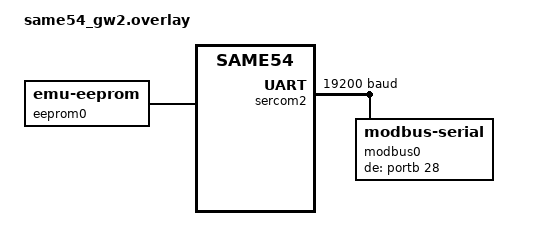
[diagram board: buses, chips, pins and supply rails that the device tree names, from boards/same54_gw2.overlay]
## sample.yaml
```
sample:
  name: Modbus TCP to serial line gateway sample
tests:
  sample.modbus.tcp_gateway:
    build_only: true
    platform_allow: frdm_k64f, same54_gw2
    tags: modbus
    depends_on:
      - gpio
      - netif
      - arduino_serial
    integration_platforms:
      - frdm_k64f
```

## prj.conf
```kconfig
CONFIG_DEBUG=y

CONFIG_LOG=y
CONFIG_MAIN_STACK_SIZE=1200
CONFIG_POSIX_API=y

CONFIG_SERIAL=y
CONFIG_UART_INTERRUPT_DRIVEN=y
CONFIG_UART_LINE_CTRL=n

CONFIG_MODBUS=y
CONFIG_MODBUS_ROLE_CLIENT=y
CONFIG_MODBUS_RAW_ADU=y
CONFIG_MODBUS_NUMOF_RAW_ADU=1
CONFIG_MODBUS_LOG_LEVEL_DBG=y

# Networking config
CONFIG_NETWORKING=y
CONFIG_NET_IPV4=y
CONFIG_NET_IPV6=n
CONFIG_NET_TCP=y
CONFIG_NET_ARP=y
CONFIG_NET_SOCKETS=y

# Network address config
CONFIG_NET_CONFIG_SETTINGS=n
CONFIG_NET_DHCPV4=y
CONFIG_NET_CONNECTION_MANAGER=y
CONFIG_NET_MGMT_EVENT=y
CONFIG_NET_L2_ETHERNET_MGMT=y

CONFIG_NET_SHELL=y
CONFIG_KERNEL_SHELL=y
CONFIG_SHELL_LOG_BACKEND=y
CONFIG_SHELL_BACKEND_TELNET=y
CONFIG_SHELL_TELNET_SUPPORT_COMMAND=y

CONFIG_EEPROM=y
CONFIG_EEPROM_EMULATOR=y
CONFIG_EEPROM_SHELL=y
# CONFIG_EEPROM_LOG_LEVEL_DBG=y
```

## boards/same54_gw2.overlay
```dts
/*
 * Copyright (c) 2020 Phytec Messtechnik GmbH
 *
 * SPDX-License-Identifier: Apache-2.0
 */


&sercom2 {
	status = "okay";
	compatible = "atmel,sam0-uart";
	current-speed = <19200>;
	rxpo = <1>;
	txpo = <0>;

	pinctrl-0 = <&sercom2_uart_default>;
	pinctrl-names = "default";

	modbus0 {
		compatible = "zephyr,modbus-serial";
		status = "okay";
		de-gpios = <&portb 28 GPIO_ACTIVE_HIGH>;
	};
};


&sram0 {
	reg = <0x20000000 0x30000>;
};


&flash0 {
	partitions {
		compatible = "fixed-partitions";
		#address-cells = <1>;
		#size-cells = <1>;

		/*
		 * Forth partition last 128 kB - storage_partition
		 */
		forth_partition: partition@e0000 {
			label = "forth-dict";
			reg = <0x00e0000 0x0001c000>;
		};

		 /*
		 * The final 16 KiB is reserved for the application.
		 * Storage partition will be used by FCB/LittleFS/NVS
		 * if enabled.
		 */
		chip_partition: partition@fc000 {
			label = "eeprom";
			reg = <0x000fc000 0x00004000>;
		};
	};
};

/ {
	aliases {
		mac-eeprom = &eeprom0;
	};

	eeprom0: eeprom-0 {
		compatible = "zephyr,emu-eeprom";
		status = "okay";
		partition = < &chip_partition >;
		size = <64>;
		pagesize = <(16*512)>;
	};
};
```

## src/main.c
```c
/*
 * Copyright (c) 2020 PHYTEC Messtechnik GmbH
 * Copyright (c) 2021 Nordic Semiconductor ASA
 *
 * SPDX-License-Identifier: Apache-2.0
 */

#include <zephyr/kernel.h>
#include <zephyr/sys/util.h>
#include <zephyr/drivers/eeprom.h>
#include <zephyr/device.h>
#include <zephyr/random/random.h>
#include <zephyr/modbus/modbus.h>
#include <zephyr/net/socket.h>

#include <zephyr/net/ethernet.h>
#include <zephyr/net/ethernet_mgmt.h>
#include <zephyr/net/net_core.h>
#include <zephyr/net/net_if.h>
#include <zephyr/net/net_context.h>
#include <zephyr/net/net_mgmt.h>

#include <zephyr/logging/log.h>
LOG_MODULE_REGISTER(tcp_gateway, LOG_LEVEL_INF);

#define MODBUS_TCP_PORT 502
static struct net_mgmt_event_callback mgmt_cb;

#define EEPROM_MAC_OFFSET 0
/*
 * Get a device structure from a devicetree node with alias eeprom-0
 */
static const struct device *get_eeprom_device(void)
{
	const struct device *const dev = DEVICE_DT_GET(DT_ALIAS(mac_eeprom));

	if (!device_is_ready(dev)) {
		printk("\nError: Device \"%s\" is not ready; "
		       "check the driver initialization logs for errors.\n",
		       dev->name);
		return NULL;
	}

	printk("Found EEPROM device \"%s\"\n", dev->name);
	return dev;
}

static int check_generate_mac(struct net_eth_addr *mac)
{
	uint8_t *p = (uint8_t*)mac;

	for(int n=0;n < sizeof(struct net_eth_addr);n++) {
		if(p[n] != 0xff) return 0;
	}

	p[0] = 0x02;
	p[1] = 0x19;
	p[2] = 0x96;

	sys_rand_get(p+3,sizeof(struct net_eth_addr)-3);

	return 1;
}

static void set_mac_addr(struct net_if *iface, void *user_data)
{
	ARG_UNUSED(user_data);
	int rc;
	struct ethernet_req_params values;

	const struct device *eeprom = get_eeprom_device();

	rc = net_if_down(iface);
	if (rc < 0) {
		printk("Error: Couldn't bring network down %d.\n", rc);
		return;
	}

	if (eeprom == NULL) {
		return;
	}

	rc = eeprom_read(eeprom, EEPROM_MAC_OFFSET, &values.mac_address, sizeof(values.mac_address));
	if (rc < 0) {
		printk("Error: Couldn't read eeprom: err: %d.\n", rc);
		return;
	}

	if (check_generate_mac(&values.mac_address))
	{
		rc = eeprom_write(eeprom, EEPROM_MAC_OFFSET, &values.mac_address, sizeof(values.mac_address));
		if (rc < 0) {
			printk("Error: Couldn't write eeprom: err: %d.\n", rc);
		}
	}

	rc = net_mgmt(NET_REQUEST_ETHERNET_SET_MAC_ADDRESS, iface,
		       &values, sizeof(struct ethernet_req_params));

	LOG_INF("Set MAC on %s: index=%d", net_if_get_device(iface)->name,
		net_if_get_by_iface(iface));

	rc = net_if_up(iface);

	if (rc < 0) {
		printk("Error: Couldn't bring network up %d.\n", rc);
		return;
	}




}

static void start_dhcpv4_client(struct net_if *iface, void *user_data)
{
	ARG_UNUSED(user_data);

	LOG_INF("Start on %s: index=%d", net_if_get_device(iface)->name,
		net_if_get_by_iface(iface));
	net_dhcpv4_start(iface);
}

static struct modbus_adu tmp_adu;
static int backend;

const static struct modbus_iface_param backend_param = {
	.mode = MODBUS_MODE_RTU,
	.rx_timeout = 800000,
	.serial = {
		.baud = 19200,
		.parity = UART_CFG_PARITY_EVEN,
		.stop_bits_client = UART_CFG_STOP_BITS_1,
	},
};

#define MODBUS_NODE DT_COMPAT_GET_ANY_STATUS_OKAY(zephyr_modbus_serial)

static int init_backend_iface(void)
{
	const char bend_name[] = {DEVICE_DT_NAME(MODBUS_NODE)};

	backend = modbus_iface_get_by_name(bend_name);
	if (backend < 0) {
		LOG_ERR("Failed to get iface index for %s",
			bend_name);
		return -ENODEV;
	}

	return modbus_init_client(backend, backend_param);
}

static int modbus_tcp_reply(int client, struct modbus_adu *adu)
{
	uint8_t header[MODBUS_MBAP_AND_FC_LENGTH];

	modbus_raw_put_header(adu, header);
	if (send(client, header, sizeof(header), 0) < 0) {
		return -errno;
	}

	if (send(client, adu->data, adu->length, 0) < 0) {
		return -errno;
	}

	return 0;
}

static int modbus_tcp_connection(int client)
{
	uint8_t header[MODBUS_MBAP_AND_FC_LENGTH];
	int rc;
	int data_len;

	rc = recv(client, header, sizeof(header), MSG_WAITALL);
	if (rc <= 0) {
		return rc == 0 ? -ENOTCONN : -errno;
	}

	LOG_HEXDUMP_DBG(header, sizeof(header), "h:>");
	modbus_raw_get_header(&tmp_adu, header);
	data_len = tmp_adu.length;

	rc = recv(client, tmp_adu.data, data_len, MSG_WAITALL);
	if (rc <= 0) {
		return rc == 0 ? -ENOTCONN : -errno;
	}

	LOG_HEXDUMP_DBG(tmp_adu.data, tmp_adu.length, "d:>");
	rc = modbus_raw_backend_txn(backend, &tmp_adu);
	if (rc == -ENOTSUP || rc == -ENODEV) {
		LOG_WRN("Backend interface error: %d", rc);
	}

	return modbus_tcp_reply(client, &tmp_adu);
}

static void handler(struct net_mgmt_event_callback *cb,
		    uint64_t mgmt_event,
		    struct net_if *iface)
{
	int i = 0;

	if (mgmt_event != NET_EVENT_IPV4_ADDR_ADD) {
		return;
	}

	for (i = 0; i < NET_IF_MAX_IPV4_ADDR; i++) {
		char buf[NET_IPV4_ADDR_LEN];

		if (iface->config.ip.ipv4->unicast[i].ipv4.addr_type !=
							NET_ADDR_DHCP) {
			continue;
		}

		LOG_INF("   Address[%d]: %s", net_if_get_by_iface(iface),
			net_addr_ntop(AF_INET,
			    &iface->config.ip.ipv4->unicast[i].ipv4.address.in_addr,
						  buf, sizeof(buf)));
		LOG_INF("    Subnet[%d]: %s", net_if_get_by_iface(iface),
			net_addr_ntop(AF_INET,
				       &iface->config.ip.ipv4->unicast[i].netmask,
				       buf, sizeof(buf)));
		LOG_INF("    Router[%d]: %s", net_if_get_by_iface(iface),
			net_addr_ntop(AF_INET,
						 &iface->config.ip.ipv4->gw,
						 buf, sizeof(buf)));
		LOG_INF("Lease time[%d]: %u seconds", net_if_get_by_iface(iface),
			iface->config.dhcpv4.lease_time);
	}
}

int main(void)
{
	int serv;
	struct sockaddr_in bind_addr;
	static int counter;

	LOG_INF("Set MAC addr");

	net_if_foreach(set_mac_addr, NULL);

	LOG_INF("Run dhcpv4 client");

	net_mgmt_init_event_callback(&mgmt_cb, (net_mgmt_event_handler_t) handler,
				     NET_EVENT_IPV4_ADDR_ADD);
	net_mgmt_add_event_callback(&mgmt_cb);

	net_if_foreach(start_dhcpv4_client, NULL);

	if (init_backend_iface()) {
		LOG_ERR("Modbus initialization failed");
		return 0;
	}

	serv = socket(AF_INET, SOCK_STREAM, IPPROTO_TCP);

	if (serv < 0) {
		LOG_ERR("error: socket: %d", errno);
		return 0;
	}

	bind_addr.sin_family = AF_INET;
	bind_addr.sin_addr.s_addr = htonl(INADDR_ANY);
	bind_addr.sin_port = htons(MODBUS_TCP_PORT);

	if (bind(serv, (struct sockaddr *)&bind_addr, sizeof(bind_addr)) < 0) {
		LOG_ERR("error: bind: %d", errno);
		return 0;
	}

	if (listen(serv, 5) < 0) {
		LOG_ERR("error: listen: %d", errno);
		return 0;
	}

	LOG_INF("Started MODBUS TCP gateway example on port %d", MODBUS_TCP_PORT);

	while (1) {
		struct sockaddr_in client_addr;
		socklen_t client_addr_len = sizeof(client_addr);
		char addr_str[INET_ADDRSTRLEN];
		int client;
		int rc;

		client = accept(serv, (struct sockaddr *)&client_addr,
				&client_addr_len);

		if (client < 0) {
			LOG_ERR("error: accept: %d", errno);
			continue;
		}

		inet_ntop(client_addr.sin_family, &client_addr.sin_addr,
			  addr_str, sizeof(addr_str));
		LOG_INF("Connection #%d from %s",
			counter++, addr_str);

		do {
			rc = modbus_tcp_connection(client);
		} while (!rc);

		close(client);
		LOG_INF("Connection from %s closed, errno %d",
			addr_str, rc);
	}
	return 0;
}
```
